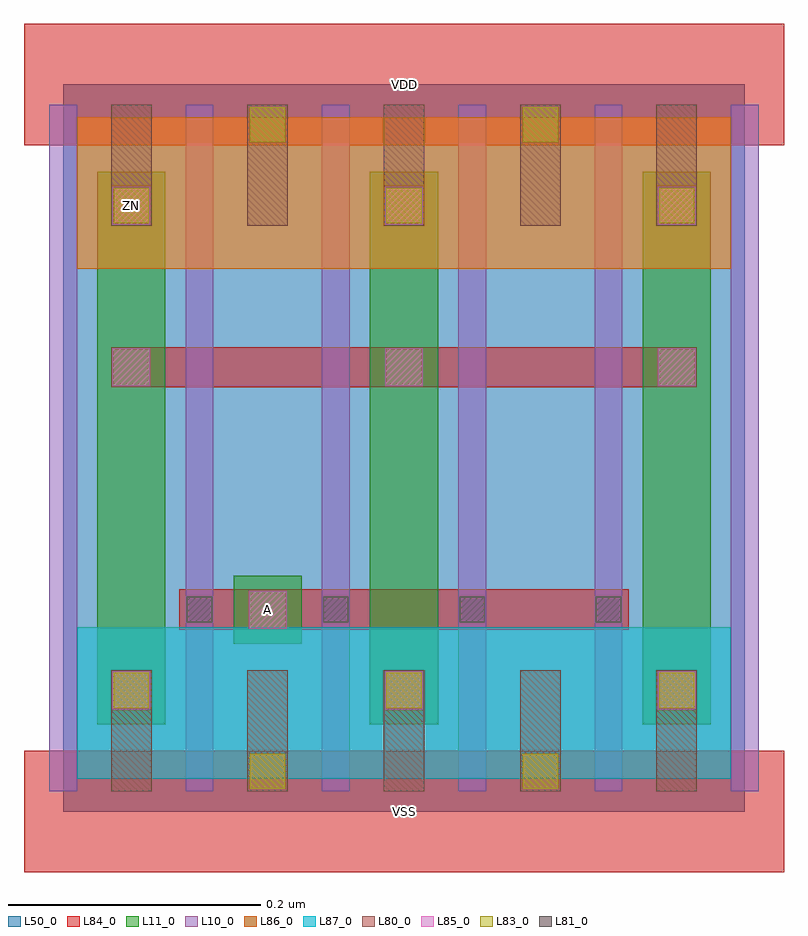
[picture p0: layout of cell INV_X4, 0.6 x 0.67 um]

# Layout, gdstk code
import gdstk
lib = gdstk.Library(unit=1e-6, precision=1e-09)
def R(c, l, rs):  # rectangles x0, y0, x1, y1
    for r in rs: c.add(gdstk.rectangle(r[:2], r[2:], *l))
def A(c, l, x, y, w, h, nx, ny, dx, dy):  # array of equal rectangles
    R(c, l, [(x+i*dx, y+j*dy, x+i*dx+w, y+j*dy+h) for i in range(nx) for j in range(ny)])
L10_0 = (10, 0)
L11_0 = (11, 0)
L50_0 = (50, 0)
L80_0 = (80, 0)
L81_0 = (81, 0)
L83_0 = (83, 0)
L84_0 = (84, 0)
L85_0 = (85, 0)
L86_0 = (86, 0)
L87_0 = (87, 0)

inv_x4 = lib.new_cell('INV_X4')
A(inv_x4, L10_0, -0.011, 0.016, 0.022, 0.544, 6, 1, 0.108, 0)
A(inv_x4, L11_0, 0.027, 0.069, 0.054, 0.438, 3, 1, 0.216, 0)
R(inv_x4, L11_0, [(0.135,0.133,0.189,0.187)])
R(inv_x4, L50_0, [(0,0,0.54,0.576)])
A(inv_x4, L80_0, 0.038, 0.016, 0.032, 0.096, 5, 2, 0.108, 0.448)
A(inv_x4, L81_0, 0.098, 0.15, 0.02, 0.02, 4, 1, 0.108, 0)
A(inv_x4, L83_0, 0.04, 0.082, 0.028, 0.028, 3, 2, 0.216, 0.384)
R(inv_x4, L83_0, [(0.148,0.018,0.176,0.046), (0.364,0.018,0.392,0.046), (0.148,0.53,0.176,0.558), (0.364,0.53,0.392,0.558)])
A(inv_x4, L84_0, 0.038, 0.08, 0.032, 0.032, 3, 2, 0.216, 0.384)
R(inv_x4, L84_0, [(-0.031,-0.048,0.571,0.048), (0.092,0.144,0.448,0.176), (0.038,0.336,0.502,0.368), (-0.031,0.528,0.571,0.624)])
A(inv_x4, L85_0, 0.039, 0.081, 0.03, 0.03, 3, 2, 0.216, 0.256)
A(inv_x4, L85_0, 0.039, 0.465, 0.03, 0.03, 3, 1, 0.216, 0)
R(inv_x4, L85_0, [(0.147,0.145,0.177,0.175)])
R(inv_x4, L86_0, [(0.011,0.43,0.529,0.55)])
R(inv_x4, L87_0, [(0.011,0.026,0.529,0.146)])
inv_x4.add(gdstk.Label('VDD', (0.27,0.576), layer=88, texttype=0))
inv_x4.add(gdstk.Label('VSS', (0.27,0), layer=88, texttype=0))
inv_x4.add(gdstk.Label('ZN', (0.054,0.48), layer=31, texttype=0))
inv_x4.add(gdstk.Label('A', (0.162,0.16), layer=31, texttype=0))

lib.write_gds('INV_X4.gds')
